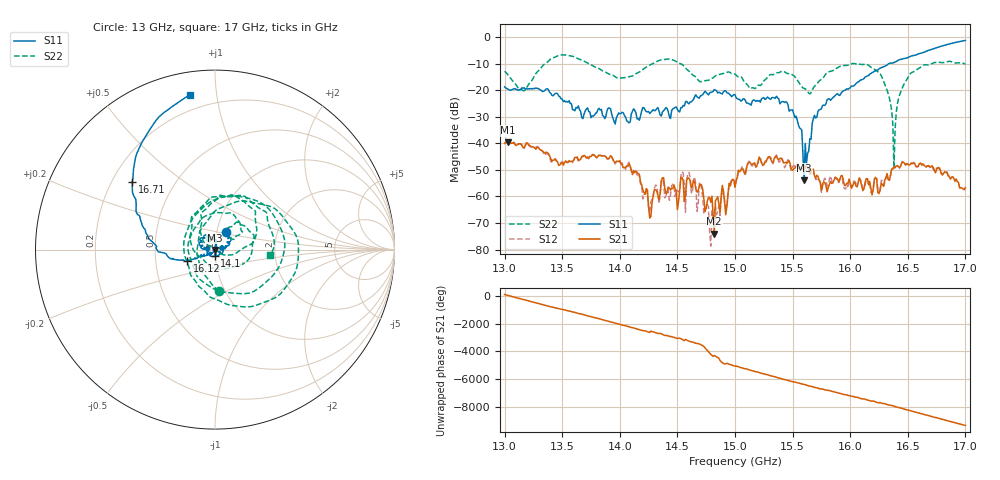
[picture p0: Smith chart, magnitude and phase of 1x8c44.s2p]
!Keysight Technologies,P9374A,MY57211807,A.19.30.04
!Date: Friday, May 08, 2026 15:11:24
!Correction: S11(C  2-Port  )
!S21(C  2-Port  )
!S12(C  2-Port  )
!S22(C  2-Port  )
!S2P File: Measurements: S11, S21, S12, S22:
# Hz S  dB  R 50
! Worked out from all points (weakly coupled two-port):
!   401 points, 13 GHz to 17 GHz, reference 50 ohm
!   highest |S21| = -39.56 dB at 13.03 GHz (marker M1); lowest = -74.0 dB at 14.82 GHz (marker M2)
!   lowest |S11| = -53.8 dB at 15.6 GHz (marker M3), VSWR 1.00, Z = 49.9 - j0.143 ohm
!   |S11| at or under -10 dB: start of sweep to 16.33 GHz
!   |S22| runs from -49.6 to -6.6 dB; largest |S21 - S12| = 0.001
!   S11 on the Smith chart (normalised r, x): 13 GHz: 1.11, +0.22; 14.1 GHz: 0.99, -0.07; 16.12 GHz: 0.73, -0.10; 16.71 GHz: 0.28, +0.33; 17 GHz: 0.12, +0.85
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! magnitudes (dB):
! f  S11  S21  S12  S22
! 13 GHz  -18.7  -40.0  -39.9  -12.7
! 13.03 GHz  -19.5  -39.6  -39.4  -14.2
! 13.16 GHz  -19.2  -41.6  -41.7  -20.1
! 13.41 GHz  -21.8  -46.6  -47.0  -7.9
! 13.67 GHz  -30.3  -44.9  -45.2  -8.6
! 14.1 GHz  -28.9  -50.2  -50.4  -14.7
! 14.27 GHz  -28.3  -67.6  -61.9  -10.2
! 14.34 GHz  -27.7  -61.1  -62.7  -8.7
! 14.6 GHz  -25.1  -53.2  -50.9  -12.7
! 14.77 GHz  -21.7  -60.3  -64.0  -16.2
! 14.82 GHz  -19.7  -74.0  -66.4  -14.9
! 15 GHz  -21.6  -56.5  -56.5  -13.9
! 15.44 GHz  -24.3  -47.1  -48.3  -13.3
! 15.56 GHz  -34.1  -49.6  -48.4  -17.4
! 15.6 GHz  -53.8  -49.6  -48.3  -19.3
! 15.67 GHz  -32.6  -49.7  -51.3  -19.9
! 16.12 GHz  -15.5  -57.0  -57.1  -10.2
! 16.34 GHz  -9.8  -53.9  -54.0  -22.8
! 16.38 GHz  -9.5  -48.8  -48.6  -49.6
! 16.49 GHz  -7.8  -47.6  -47.9  -16.0
! 16.71 GHz  -4.5  -48.4  -48.7  -9.9
! 17 GHz  -1.2  -56.7  -57.3  -10.2
